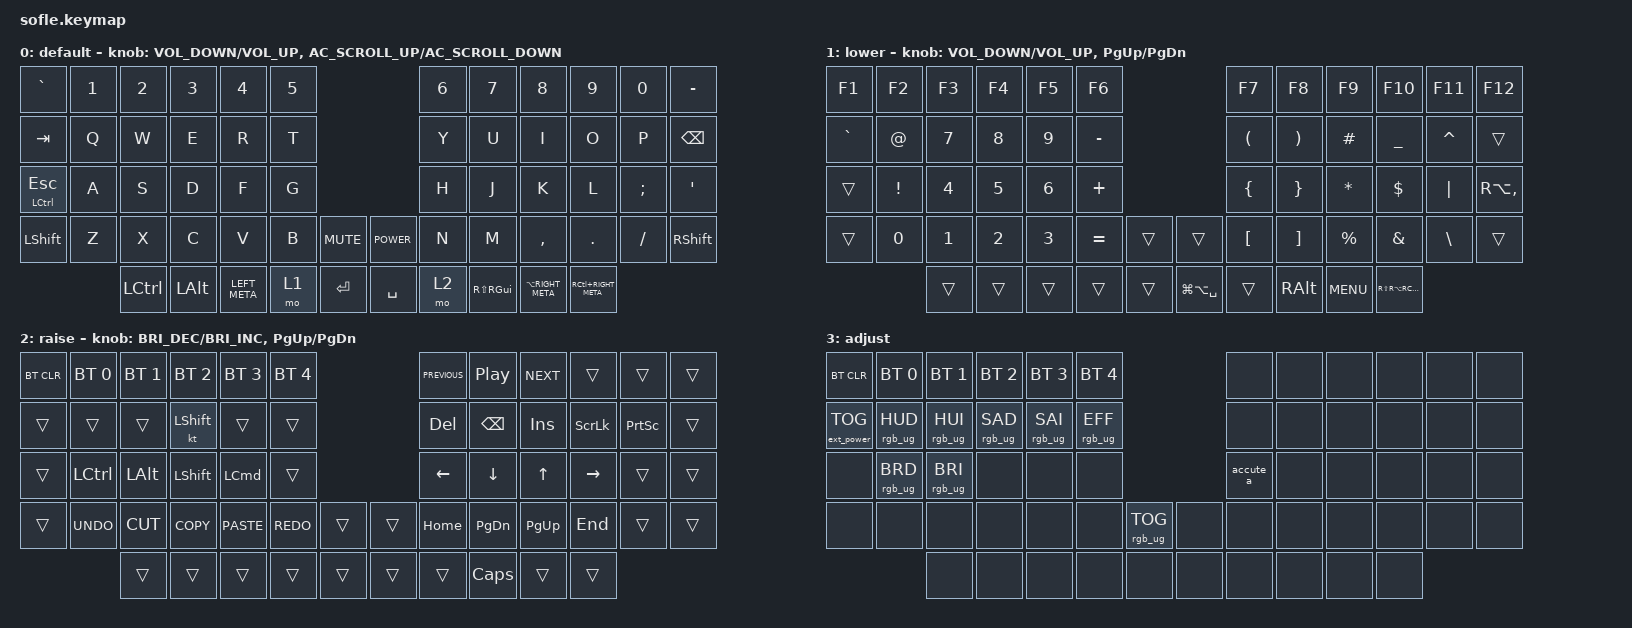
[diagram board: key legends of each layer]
/*
 * Copyright (c) 2020 The ZMK Contributors
 *
 * SPDX-License-Identifier: MIT
 */

#include <behaviors.dtsi>
#include <dt-bindings/zmk/bt.h>
#include <dt-bindings/zmk/ext_power.h>
#include <dt-bindings/zmk/keys.h>
#include <dt-bindings/zmk/rgb.h>

#define BASE 0
#define LOWER 1
#define RAISE 2
#define ADJUST 3

/ {
    // Activate ADJUST layer by pressing raise and lower

    conditional_layers {
        compatible = "zmk,conditional-layers";

        adjust_layer {
            if-layers = <1 2>;
            then-layer = <3>;
        };
    };

    macros {
        accute_a: accute_a {
            compatible = "zmk,behavior-macro";
            #binding-cells = <0>;
            bindings = <&kp LS(U) &kp PLUS &kp N0 &kp N0 &kp E &kp N1 &kp RET>;
            label = "ACCUTE_A";
        };
    };

    keymap {
        compatible = "zmk,keymap";

        default_layer {
            display-name = "default";

            // ------------------------------------------------------------------------------------------------------------
            // |   `   |  1  |  2  |  3   |  4   |  5   |                   |  6   |  7    |  8    |  9   |   0   |       |
            // |  ESC  |  Q  |  W  |  E   |  R   |  T   |                   |  Y   |  U    |  I    |  O   |   P   | BKSPC |
            // |  TAB  |  A  |  S  |  D   |  F   |  G   |                   |  H   |  J    |  K    |  L   |   ;   |   '   |
            // | SHIFT |  Z  |  X  |  C   |  V   |  B   |  MUTE  |  |       |  N   |  M    |  ,    |  .   |   /   | SHIFT |
            //               | GUI | ALT  | CTRL | LOWER|  ENTER |  | SPACE | RAISE| CTRL  | ALT   | GUI  |

            bindings = <
&kp GRAVE      &kp N1  &kp N2            &kp N3        &kp N4         &kp N5                             &kp N6  &kp N7        &kp N8              &kp N9              &kp N0    &kp MINUS
&kp TAB        &kp Q   &kp W             &kp E         &kp R          &kp T                              &kp Y   &kp U         &kp I               &kp O               &kp P     &kp BSPC
&mt LCTRL ESC  &kp A   &kp S             &kp D         &kp F          &kp G                              &kp H   &kp J         &kp K               &kp L               &kp SEMI  &kp SINGLE_QUOTE
&kp LSHFT      &kp Z   &kp X             &kp C         &kp V          &kp B   &kp C_MUTE    &kp K_POWER  &kp N   &kp M         &kp COMMA           &kp DOT             &kp FSLH  &kp RSHFT
                       &kp LEFT_CONTROL  &kp LEFT_ALT  &kp LEFT_META  &mo 1   &kp RET       &kp SPACE    &mo 2   &kp RS(RGUI)  &kp LA(RIGHT_META)  &kp RC(RIGHT_META)
            >;

            sensor-bindings =
                <&inc_dec_kp C_VOLUME_DOWN C_VOLUME_UP>,
                <&inc_dec_kp C_AC_SCROLL_UP C_AC_SCROLL_DOWN>;
        };

        lower_layer {
            display-name = "lower";
            bindings = <
&kp F1     &kp F2    &kp F3  &kp F4  &kp F5  &kp F6                                  &kp F7    &kp F8         &kp F9        &kp F10                    &kp F11        &kp F12
&kp GRAVE  &kp AT    &kp N7  &kp N8  &kp N9  &kp MINUS                               &kp LPAR  &kp RPAR       &kp HASH      &kp UNDER                  &kp CARET      &trans
&trans     &kp EXCL  &kp N4  &kp N5  &kp N6  &kp PLUS                                &kp LBRC  &kp RBRC       &kp ASTERISK  &kp DOLLAR                 &kp PIPE       &kp RA(COMMA)
&trans     &kp N0    &kp N1  &kp N2  &kp N3  &kp EQUAL  &trans    &trans             &kp LBKT  &kp RBKT       &kp PERCENT   &kp AMPERSAND              &kp BACKSLASH  &trans
                     &trans  &trans  &trans  &trans     &trans    &kp LG(LA(SPACE))  &trans    &kp RIGHT_ALT  &kp K_MENU    &kp RS(RA(RC(RIGHT_GUI)))
            >;

            sensor-bindings =
                <&inc_dec_kp C_VOLUME_DOWN C_VOLUME_UP>,
                <&inc_dec_kp PG_UP PG_DN>;

            label = "lower";
        };

        raise_layer {
            display-name = "raise";

            // ------------------------------------------------------------------------------------------------------------
            // | BTCLR | BT1  | BT2  |  BT3  |  BT4  |  BT5 |                |      |      |       |      |       |       |
            // |       | INS  | PSCR | GUI   |       |      |                | PGUP |      |   ^   |      |       |       |
            // |       | ALT  | CTRL | SHIFT |       | CAPS |                | PGDN |   <- |   v   |  ->  |  DEL  | BKSPC |
            // |       | UNDO | CUT  | COPY  | PASTE |      |      |  |      |      |      |       |      |       |       |
            //                |      |       |       |      |      |  |      |      |      |       |      |

            bindings = <
&bt BT_CLR  &bt BT_SEL 0      &bt BT_SEL 1  &bt BT_SEL 2    &bt BT_SEL 3      &bt BT_SEL 4                    &kp C_PREVIOUS  &kp C_PLAY_PAUSE  &kp C_NEXT    &trans          &trans           &trans
&trans      &trans            &trans        &kt LEFT_SHIFT  &trans            &trans                          &kp DEL         &kp BACKSPACE     &kp INSERT    &kp SCROLLLOCK  &kp PRINTSCREEN  &trans
&trans      &kp LEFT_CONTROL  &kp LEFT_ALT  &kp LSHFT       &kp LEFT_COMMAND  &trans                          &kp LEFT_ARROW  &kp DOWN          &kp UP_ARROW  &kp RIGHT       &trans           &trans
&trans      &kp K_UNDO        &kp K_CUT     &kp K_COPY      &kp K_PASTE       &kp K_REDO    &trans    &trans  &kp HOME        &kp PAGE_DOWN     &kp PG_UP     &kp END         &trans           &trans
                              &trans        &trans          &trans            &trans        &trans    &trans  &trans          &kp CAPSLOCK      &trans        &trans
            >;

            sensor-bindings =
                <&inc_dec_kp C_BRIGHTNESS_DEC C_BRIGHTNESS_INC>,
                <&inc_dec_kp PG_UP PG_DN>;
        };

        adjust_layer {
            // ----------------------------------------------------------------------------------------------------------------------------
            // | BTCLR  |  BT1    |  BT2    |   BT3   |   BT4   |   BT5   |                  |      |      |       |      |       |       |
            // | EXTPWR | RGB_HUD | RGB_HUI | RGB_SAD | RGB_SAI | RGB_EFF |                  |      |      |       |      |       |       |
            // |        | RGB_BRD | RGB_BRI |         |         |         |                  |      |      |       |      |       |       |
            // |        |         |         |         |         |         | RGB_TOG | |      |      |      |       |      |       |       |
            //                    |         |         |         |         |         | |      |      |      |       |      |

            display-name = "adjust";
            bindings = <
&bt BT_CLR         &bt BT_SEL 0     &bt BT_SEL 1     &bt BT_SEL 2     &bt BT_SEL 3     &bt BT_SEL 4                               &none      &none  &none  &none  &none  &none
&ext_power EP_TOG  &rgb_ug RGB_HUD  &rgb_ug RGB_HUI  &rgb_ug RGB_SAD  &rgb_ug RGB_SAI  &rgb_ug RGB_EFF                            &none      &none  &none  &none  &none  &none
&none              &rgb_ug RGB_BRD  &rgb_ug RGB_BRI  &none            &none            &none                                      &accute_a  &none  &none  &none  &none  &none
&none              &none            &none            &none            &none            &none            &rgb_ug RGB_TOG    &none  &none      &none  &none  &none  &none  &none
                                    &none            &none            &none            &none            &none              &none  &none      &none  &none  &none
            >;
        };
    };
};
